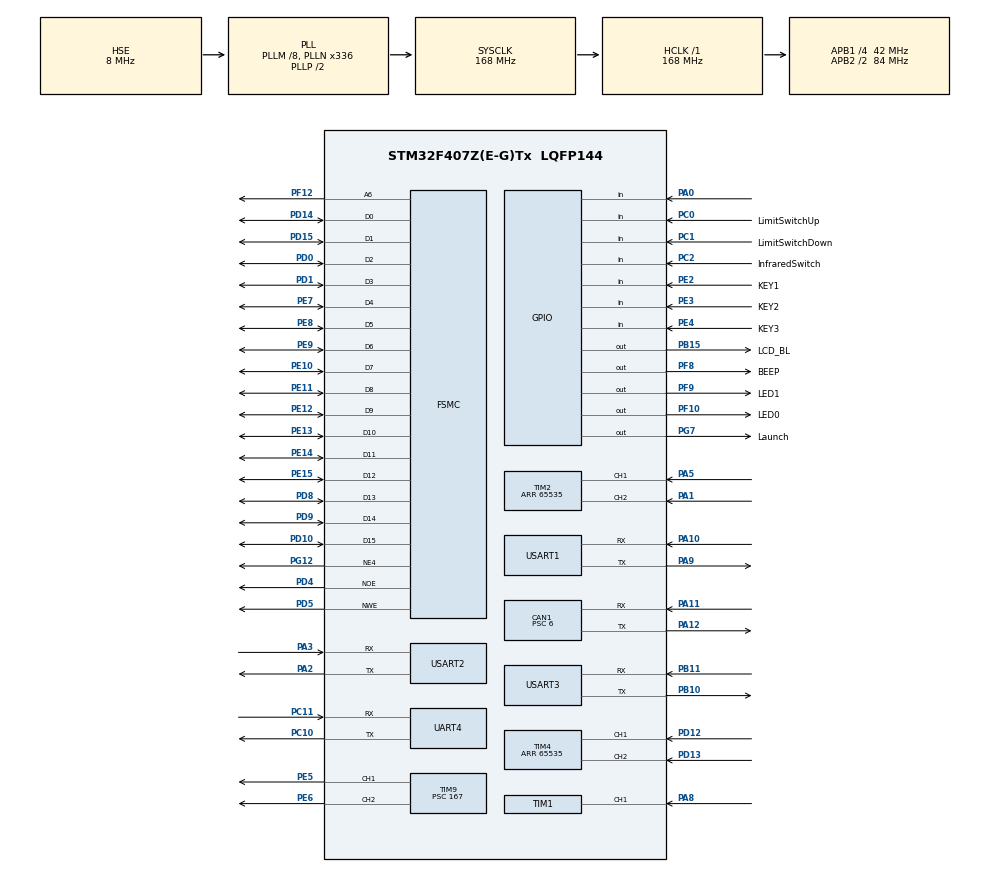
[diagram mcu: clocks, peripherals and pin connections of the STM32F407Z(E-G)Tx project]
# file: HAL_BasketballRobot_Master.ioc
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CAN1.ABOM=ENABLE
CAN1.BS1=CAN_BS1_2TQ
CAN1.BS2=CAN_BS2_4TQ
CAN1.CalculateTimeQuantum=142.85714285714286
CAN1.Prescaler=6
CAN1.TXFP=ENABLE
FSMC.BusTurnAroundDuration1=0
FSMC.DataSetupTime1=60
FSMC.ExtendedAddressSetupTime1=3
FSMC.ExtendedBusTurnAroundDuration1=0
FSMC.ExtendedDataSetupTime1=2
FSMC.ExtendedMode1=FSMC_EXTENDED_MODE_ENABLE
Mcu.Family=STM32F4
Mcu.Name=STM32F407Z(E-G)Tx
Mcu.Package=LQFP144
NVIC.CAN1_RX0_IRQn=true\:1\:0\:true\:false\:true\:true
NVIC.PriorityGroup=NVIC_PRIORITYGROUP_2
NVIC.TIM1_CC_IRQn=true\:0\:3\:false\:false\:true\:true
NVIC.TIM1_UP_TIM10_IRQn=true\:0\:2\:false\:false\:true\:true
NVIC.TIM5_IRQn=true\:1\:0\:true\:false\:true\:true
NVIC.UART4_IRQn=true\:2\:0\:true\:false\:true\:true
NVIC.USART1_IRQn=true\:2\:2\:true\:false\:true\:true
NVIC.USART2_IRQn=true\:2\:1\:true\:false\:true\:true
NVIC.USART3_IRQn=true\:3\:0\:true\:false\:true\:true
PA0-WKUP.GPIO_Mode=GPIO_MODE_INPUT
PA0-WKUP.GPIO_PuPd=GPIO_NOPULL
PA0-WKUP.Signal=GPIO_Input
PA1.GPIO_ModeDefaultPP=GPIO_MODE_AF_PP
PA1.GPIO_PuPd=GPIO_NOPULL
PA1.GPIO_Speed=GPIO_SPEED_FREQ_LOW
PA1.Signal=S_TIM2_CH2
PA10.Mode=Asynchronous
PA10.Signal=USART1_RX
PA11.GPIO_Mode=GPIO_MODE_AF_PP
PA11.GPIO_PuPd=GPIO_NOPULL
PA11.GPIO_Speed=GPIO_SPEED_FREQ_VERY_HIGH
PA11.Mode=Master
PA11.Signal=CAN1_RX
PA12.GPIO_Mode=GPIO_MODE_AF_PP
PA12.GPIO_PuPd=GPIO_NOPULL
PA12.GPIO_Speed=GPIO_SPEED_FREQ_VERY_HIGH
PA12.Mode=Master
PA12.Signal=CAN1_TX
PA13.Mode=JTAG_5_pins
PA13.Signal=SYS_JTMS-SWDIO
PA14.Mode=JTAG_5_pins
PA14.Signal=SYS_JTCK-SWCLK
PA15.Mode=JTAG_5_pins
PA15.Signal=SYS_JTDI
PA2.Mode=Asynchronous
PA2.Signal=USART2_TX
PA3.Mode=Asynchronous
PA3.Signal=USART2_RX
PA5.GPIO_ModeDefaultPP=GPIO_MODE_AF_PP
PA5.GPIO_PuPd=GPIO_NOPULL
PA5.GPIO_Speed=GPIO_SPEED_FREQ_LOW
PA5.Signal=S_TIM2_CH1_ETR
PA8.GPIO_ModeDefaultPP=GPIO_MODE_AF_PP
PA8.GPIO_PuPd=GPIO_NOPULL
PA8.GPIO_Speed=GPIO_SPEED_FREQ_LOW
PA8.Signal=S_TIM1_CH1
PA9.Mode=Asynchronous
PA9.Signal=USART1_TX
PB10.Mode=Asynchronous
PB10.Signal=USART3_TX
PB11.Mode=Asynchronous
PB11.Signal=USART3_RX
PB15.GPIO_Label=LCD_BL
PB15.GPIO_ModeDefaultOutputPP=GPIO_MODE_OUTPUT_PP
PB15.GPIO_PuPd=GPIO_PULLUP
PB15.GPIO_Speed=GPIO_SPEED_FREQ_HIGH
PB15.PinState=GPIO_PIN_RESET
PB15.Signal=GPIO_Output
PB3.Mode=JTAG_5_pins
PB3.Signal=SYS_JTDO-SWO
PB4.Mode=JTAG_5_pins
PB4.Signal=SYS_JTRST
PC0.GPIO_Label=LimitSwitchUp
PC0.GPIO_Mode=GPIO_MODE_INPUT
PC0.GPIO_PuPd=GPIO_PULLUP
PC0.Signal=GPIO_Input
PC1.GPIO_Label=LimitSwitchDown
PC1.GPIO_Mode=GPIO_MODE_INPUT
PC1.GPIO_PuPd=GPIO_PULLUP
PC1.Signal=GPIO_Input
PC10.Mode=Asynchronous
PC10.Signal=UART4_TX
PC11.Mode=Asynchronous
PC11.Signal=UART4_RX
PC2.GPIO_Label=InfraredSwitch
PC2.GPIO_Mode=GPIO_MODE_INPUT
PC2.GPIO_PuPd=GPIO_PULLUP
PC2.Signal=GPIO_Input
PD0.GPIO_Mode=GPIO_MODE_AF_PP
PD0.GPIO_PuPd=GPIO_PULLUP
PD0.GPIO_Speed_High_Default=GPIO_SPEED_FREQ_VERY_HIGH
PD0.Signal=FSMC_D2_DA2
PD1.GPIO_Mode=GPIO_MODE_AF_PP
PD1.GPIO_PuPd=GPIO_PULLUP
PD1.GPIO_Speed_High_Default=GPIO_SPEED_FREQ_VERY_HIGH
PD1.Signal=FSMC_D3_DA3
PD10.GPIO_Mode=GPIO_MODE_AF_PP
PD10.GPIO_PuPd=GPIO_PULLUP
PD10.GPIO_Speed_High_Default=GPIO_SPEED_FREQ_VERY_HIGH
PD10.Signal=FSMC_D15_DA15
PD12.GPIO_ModeDefaultPP=GPIO_MODE_AF_PP
PD12.GPIO_PuPd=GPIO_NOPULL
PD12.GPIO_Speed=GPIO_SPEED_FREQ_LOW
PD12.Signal=S_TIM4_CH1
PD13.GPIO_ModeDefaultPP=GPIO_MODE_AF_PP
PD13.GPIO_PuPd=GPIO_NOPULL
PD13.GPIO_Speed=GPIO_SPEED_FREQ_LOW
PD13.Signal=S_TIM4_CH2
PD14.GPIO_Mode=GPIO_MODE_AF_PP
PD14.GPIO_PuPd=GPIO_PULLUP
PD14.GPIO_Speed_High_Default=GPIO_SPEED_FREQ_VERY_HIGH
PD14.Signal=FSMC_D0_DA0
PD15.GPIO_Mode=GPIO_MODE_AF_PP
PD15.GPIO_PuPd=GPIO_PULLUP
PD15.GPIO_Speed_High_Default=GPIO_SPEED_FREQ_VERY_HIGH
PD15.Signal=FSMC_D1_DA1
PD4.GPIO_Mode=GPIO_MODE_AF_PP
PD4.GPIO_PuPd=GPIO_PULLUP
PD4.GPIO_Speed_High_Default=GPIO_SPEED_FREQ_VERY_HIGH
PD4.Signal=FSMC_NOE
PD5.GPIO_Mode=GPIO_MODE_AF_PP
PD5.GPIO_PuPd=GPIO_PULLUP
PD5.GPIO_Speed_High_Default=GPIO_SPEED_FREQ_VERY_HIGH
PD5.Signal=FSMC_NWE
PD8.GPIO_Mode=GPIO_MODE_AF_PP
PD8.GPIO_PuPd=GPIO_PULLUP
PD8.GPIO_Speed_High_Default=GPIO_SPEED_FREQ_VERY_HIGH
PD8.Signal=FSMC_D13_DA13
PD9.GPIO_Mode=GPIO_MODE_AF_PP
PD9.GPIO_PuPd=GPIO_PULLUP
PD9.GPIO_Speed_High_Default=GPIO_SPEED_FREQ_VERY_HIGH
PD9.Signal=FSMC_D14_DA14
PE10.GPIO_Mode=GPIO_MODE_AF_PP
PE10.GPIO_PuPd=GPIO_PULLUP
PE10.GPIO_Speed_High_Default=GPIO_SPEED_FREQ_VERY_HIGH
PE10.Signal=FSMC_D7_DA7
PE11.GPIO_Mode=GPIO_MODE_AF_PP
PE11.GPIO_PuPd=GPIO_PULLUP
PE11.GPIO_Speed_High_Default=GPIO_SPEED_FREQ_VERY_HIGH
PE11.Signal=FSMC_D8_DA8
PE12.GPIO_Mode=GPIO_MODE_AF_PP
PE12.GPIO_PuPd=GPIO_PULLUP
PE12.GPIO_Speed_High_Default=GPIO_SPEED_FREQ_VERY_HIGH
PE12.Signal=FSMC_D9_DA9
PE13.GPIO_Mode=GPIO_MODE_AF_PP
PE13.GPIO_PuPd=GPIO_PULLUP
PE13.GPIO_Speed_High_Default=GPIO_SPEED_FREQ_VERY_HIGH
PE13.Signal=FSMC_D10_DA10
PE14.GPIO_Mode=GPIO_MODE_AF_PP
PE14.GPIO_PuPd=GPIO_PULLUP
PE14.GPIO_Speed_High_Default=GPIO_SPEED_FREQ_VERY_HIGH
PE14.Signal=FSMC_D11_DA11
PE15.GPIO_Mode=GPIO_MODE_AF_PP
PE15.GPIO_PuPd=GPIO_PULLUP
PE15.GPIO_Speed_High_Default=GPIO_SPEED_FREQ_VERY_HIGH
PE15.Signal=FSMC_D12_DA12
PE2.GPIO_Label=KEY1
PE2.GPIO_Mode=GPIO_MODE_INPUT
PE2.GPIO_PuPd=GPIO_NOPULL
PE2.Signal=GPIO_Input
PE3.GPIO_Label=KEY2
PE3.GPIO_Mode=GPIO_MODE_INPUT
PE3.GPIO_PuPd=GPIO_NOPULL
PE3.Signal=GPIO_Input
PE4.GPIO_Label=KEY3
PE4.GPIO_Mode=GPIO_MODE_INPUT
PE4.GPIO_PuPd=GPIO_NOPULL
PE4.Signal=GPIO_Input
PE5.GPIO_ModeDefaultPP=GPIO_MODE_AF_PP
PE5.GPIO_PuPd=GPIO_PULLUP
PE5.GPIO_Speed=GPIO_SPEED_FREQ_HIGH
PE5.Signal=S_TIM9_CH1
PE6.GPIO_PuPd=GPIO_PULLUP
PE6.GPIO_Speed=GPIO_SPEED_FREQ_HIGH
PE6.Signal=S_TIM9_CH2
PE7.GPIO_Mode=GPIO_MODE_AF_PP
PE7.GPIO_PuPd=GPIO_PULLUP
PE7.GPIO_Speed_High_Default=GPIO_SPEED_FREQ_VERY_HIGH
PE7.Signal=FSMC_D4_DA4
PE8.GPIO_Mode=GPIO_MODE_AF_PP
PE8.GPIO_PuPd=GPIO_PULLUP
PE8.GPIO_Speed_High_Default=GPIO_SPEED_FREQ_VERY_HIGH
PE8.Signal=FSMC_D5_DA5
PE9.GPIO_Mode=GPIO_MODE_AF_PP
PE9.GPIO_PuPd=GPIO_PULLUP
PE9.GPIO_Speed_High_Default=GPIO_SPEED_FREQ_VERY_HIGH
PE9.Signal=FSMC_D6_DA6
PF10.GPIO_Label=LED0
PF10.GPIO_ModeDefaultOutputPP=GPIO_MODE_OUTPUT_PP
PF10.GPIO_PuPd=GPIO_PULLUP
PF10.GPIO_Speed=GPIO_SPEED_FREQ_HIGH
PF10.PinState=GPIO_PIN_RESET
PF10.Signal=GPIO_Output
PF12.GPIO_Mode=GPIO_MODE_AF_PP
PF12.GPIO_PuPd=GPIO_PULLUP
PF12.GPIO_Speed_High_Default=GPIO_SPEED_FREQ_VERY_HIGH
PF12.Signal=FSMC_A6
PF8.GPIO_Label=BEEP
PF8.GPIO_ModeDefaultOutputPP=GPIO_MODE_OUTPUT_PP
PF8.GPIO_PuPd=GPIO_PULLUP
PF8.GPIO_Speed=GPIO_SPEED_FREQ_HIGH
PF8.PinState=GPIO_PIN_RESET
PF8.Signal=GPIO_Output
PF9.GPIO_Label=LED1
PF9.GPIO_ModeDefaultOutputPP=GPIO_MODE_OUTPUT_PP
PF9.GPIO_PuPd=GPIO_PULLUP
PF9.GPIO_Speed=GPIO_SPEED_FREQ_HIGH
PF9.PinState=GPIO_PIN_RESET
PF9.Signal=GPIO_Output
PG12.GPIO_Mode=GPIO_MODE_AF_PP
PG12.GPIO_PuPd=GPIO_PULLUP
PG12.GPIO_Speed_High_Default=GPIO_SPEED_FREQ_VERY_HIGH
PG12.Mode=NorPsramChipSelect4_1
PG12.Signal=FSMC_NE4
PG7.GPIO_Label=Launch
PG7.GPIO_ModeDefaultOutputPP=GPIO_MODE_OUTPUT_PP
PG7.GPIO_PuPd=GPIO_PULLUP
PG7.GPIO_Speed=GPIO_SPEED_FREQ_HIGH
PG7.PinState=GPIO_PIN_RESET
PG7.Signal=GPIO_Output
PH0-OSC_IN.Mode=HSE-External-Oscillator
PH0-OSC_IN.Signal=RCC_OSC_IN
PH1-OSC_OUT.Mode=HSE-External-Oscillator
PH1-OSC_OUT.Signal=RCC_OSC_OUT
ProjectManager.HeapSize=0x200
ProjectManager.StackSize=0x400
ProjectManager.TargetToolchain=MDK-ARM V5
RCC.48MHZClocksFreq_Value=84000000
RCC.AHBFreq_Value=168000000
RCC.APB1CLKDivider=RCC_HCLK_DIV4
RCC.APB1Freq_Value=42000000
RCC.APB1TimFreq_Value=84000000
RCC.APB2CLKDivider=RCC_HCLK_DIV2
RCC.APB2Freq_Value=84000000
RCC.APB2TimFreq_Value=168000000
RCC.CortexFreq_Value=168000000
RCC.HCLKFreq_Value=168000000
RCC.HSE_VALUE=8000000
RCC.HSI_VALUE=16000000
RCC.LSE_VALUE=32768
RCC.PLLM=8
RCC.PLLN=336
RCC.PLLSourceVirtual=RCC_PLLSOURCE_HSE
RCC.SYSCLKFreq_VALUE=168000000
RCC.SYSCLKSource=RCC_SYSCLKSOURCE_PLLCLK
RCC.VCOOutputFreq_Value=336000000
SH.FSMC_A6.0=FSMC_A6,A6_1
SH.FSMC_D0_DA0.0=FSMC_D0,16b-d1
SH.FSMC_D10_DA10.0=FSMC_D10,16b-d1
SH.FSMC_D11_DA11.0=FSMC_D11,16b-d1
SH.FSMC_D12_DA12.0=FSMC_D12,16b-d1
SH.FSMC_D13_DA13.0=FSMC_D13,16b-d1
SH.FSMC_D14_DA14.0=FSMC_D14,16b-d1
SH.FSMC_D15_DA15.0=FSMC_D15,16b-d1
SH.FSMC_D1_DA1.0=FSMC_D1,16b-d1
SH.FSMC_D2_DA2.0=FSMC_D2,16b-d1
SH.FSMC_D3_DA3.0=FSMC_D3,16b-d1
SH.FSMC_D4_DA4.0=FSMC_D4,16b-d1
SH.FSMC_D5_DA5.0=FSMC_D5,16b-d1
SH.FSMC_D6_DA6.0=FSMC_D6,16b-d1
SH.FSMC_D7_DA7.0=FSMC_D7,16b-d1
SH.FSMC_D8_DA8.0=FSMC_D8,16b-d1
SH.FSMC_D9_DA9.0=FSMC_D9,16b-d1
SH.FSMC_NOE.0=FSMC_NOE,Lcd1
SH.FSMC_NWE.0=FSMC_NWE,Lcd1
SH.S_TIM1_CH1.0=TIM1_CH1,Input_Capture1_from_TI1
SH.S_TIM2_CH1_ETR.0=TIM2_CH1,Encoder_Interface
SH.S_TIM2_CH2.0=TIM2_CH2,Encoder_Interface
SH.S_TIM4_CH1.0=TIM4_CH1,Encoder_Interface
SH.S_TIM4_CH2.0=TIM4_CH2,Encoder_Interface
SH.S_TIM9_CH1.0=TIM9_CH1,PWM Generation1 CH1
SH.S_TIM9_CH2.0=TIM9_CH2,PWM Generation2 CH2
TIM1.Channel-Input_Capture1_from_TI1=TIM_CHANNEL_1
TIM1.ICFilter_CH1=3
TIM1.Period=9999
TIM1.Prescaler=167
TIM2.EncoderMode=TIM_ENCODERMODE_TI12
TIM2.IC1Filter=5
TIM2.IC2Filter=5
TIM2.Period=65535
TIM4.EncoderMode=TIM_ENCODERMODE_TI12
TIM4.IC1Filter=5
TIM4.IC2Filter=5
TIM4.Period=65535
TIM5.Period=999
TIM5.Prescaler=83
TIM9.Channel-PWM\ Generation1\ CH1=TIM_CHANNEL_1
TIM9.Channel-PWM\ Generation2\ CH2=TIM_CHANNEL_2
TIM9.Period=999
TIM9.Prescaler=167
UART4.VirtualMode=Asynchronous
USART1.VirtualMode=VM_ASYNC
USART2.VirtualMode=VM_ASYNC
USART3.VirtualMode=VM_ASYNC
VP_TIM1_VS_ClockSourceINT.Mode=Internal
VP_TIM5_VS_ClockSourceINT.Mode=Internal
VP_TIM9_VS_ClockSourceINT.Mode=Internal
board=custom

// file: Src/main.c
/* USER CODE BEGIN Header */
/**
  ******************************************************************************
  * @file           : main.c
  * @brief          : Main program body
  ******************************************************************************
  ** This notice applies to any and all portions of this file
  * that are not between comment pairs USER CODE BEGIN and
  * USER CODE END. Other portions of this file, whether
  * inserted by the user or by software development tools
  * are owned by their respective copyright owners.
  *
  * COPYRIGHT(c) 2018 STMicroelectronics
  *
  * Redistribution and use in source and binary forms, with or without modification,
  * are permitted provided that the following conditions are met:
  *   1. Redistributions of source code must retain the above copyright notice,
  *      this list of conditions and the following disclaimer.
  *   2. Redistributions in binary form must reproduce the above copyright notice,
  *      this list of conditions and the following disclaimer in the documentation
  *      and/or other materials provided with the distribution.
  *   3. Neither the name of STMicroelectronics nor the names of its contributors
  *      may be used to endorse or promote products derived from this software
  *      without specific prior written permission.
  *
  * THIS SOFTWARE IS PROVIDED BY THE COPYRIGHT HOLDERS AND CONTRIBUTORS "AS IS"
  * AND ANY EXPRESS OR IMPLIED WARRANTIES, INCLUDING, BUT NOT LIMITED TO, THE
  * IMPLIED WARRANTIES OF MERCHANTABILITY AND FITNESS FOR A PARTICULAR PURPOSE ARE
  * DISCLAIMED. IN NO EVENT SHALL THE COPYRIGHT HOLDER OR CONTRIBUTORS BE LIABLE
  * FOR ANY DIRECT, INDIRECT, INCIDENTAL, SPECIAL, EXEMPLARY, OR CONSEQUENTIAL
  * DAMAGES (INCLUDING, BUT NOT LIMITED TO, PROCUREMENT OF SUBSTITUTE GOODS OR
  * SERVICES; LOSS OF USE, DATA, OR PROFITS; OR BUSINESS INTERRUPTION) HOWEVER
  * CAUSED AND ON ANY THEORY OF LIABILITY, WHETHER IN CONTRACT, STRICT LIABILITY,
  * OR TORT (INCLUDING NEGLIGENCE OR OTHERWISE) ARISING IN ANY WAY OUT OF THE USE
  * OF THIS SOFTWARE, EVEN IF ADVISED OF THE POSSIBILITY OF SUCH DAMAGE.
  *
  ******************************************************************************
  */
/* USER CODE END Header */

#include "main.h"
#include "can.h"
#include "tim.h"
#include "usart.h"
#include "gpio.h"
#include "fsmc.h"

/* USER CODE BEGIN Includes */
#include "control.h"
#include "math.h"
#include "mpu6050.h"
#include "lcd.h"
#include "delay.h"
#include "remote.h"
#include "get_info.h"
#include "find_ball.h"

/* USER CODE END Includes */

void SystemClock_Config(void);

/* USER CODE BEGIN 0 */
u8 zhongquan_case;
u8 sanfen_case;
u8 changdi=0;  	//场地
u8 chengxu=0;	 //回合程序
u8 qiu=0;         //找球
static u8 key;
/* USER CODE END 0 */

int main(void)
{
  /* USER CODE BEGIN 1 */
	//u8 i;
	//int16_t time = 0;			//延时
	//u8 findballtime = 0; 		//找球时调整角度次数
  /* USER CODE END 1 */

  /* MCU Configuration--------------------------------------------------------*/

  /* Reset of all peripherals, Initializes the Flash interface and the Systick. */
  HAL_Init();

  /* Configure the system clock */
  SystemClock_Config();

  /* USER CODE BEGIN SysInit */
  delay_init(168);
  /* USER CODE END SysInit */

  /* Initialize all configured peripherals */
  MX_GPIO_Init();
  MX_CAN1_Init();
  MX_FSMC_Init();
  MX_USART1_UART_Init();
  MX_USART2_UART_Init();
  MX_USART3_UART_Init();
  MX_TIM1_Init();
  MX_TIM4_Init();
  MX_TIM9_Init();
  MX_TIM5_Init();
  MX_TIM2_Init();
  MX_UART4_Init();
  /* USER CODE BEGIN 2 */
  HAL_SRAM_MspInit(&hsram1);
  Control_Init();
  CAN1_Init();
  AllPID_Init();
  LCD_Init();
  LCD_Show_Title();

  //FindBall_VandR_sanfenxian(6);
//FindBasketry();

//FindBall_VandR(6);
//	RobotGoTo(0.5,0.4,18);
//	while(1);

//  RobotGoTo(0,0,18);
//	FindBall_VandR(5);

  //选择上位机PID调参对象
  //rxPID.pidAdjust = &(Motor[3].AnglePID);

  /* USER CODE END 2 */

  /* Infinite loop */
	while (1)
	{
    /* USER CODE BEGIN 3 */

//	    Robot_ArmUp();

		Remote_Control();  //遥控器选择球、回合程序、场地

		switch (chengxu)
		{
			case 0:  //测试程序
				switch (qiu)
				{
					case 0:  //自旋

//                        SHOT = 1;
//                       delay_ms(1000);
//                       SHOT = 0;
                        //FindBall_vision(6);
                        RobotRotate(180);
                        //RobotGoTo(0,1, 0);//self
                        //FindBall_VandR(6);
						break;
					case 1:  //机械臂下降
						Robot_ArmDown();
//                        while(1)
//						{
//							if(LimitSwitchUp) //下限位触发为高电平
//								BEEP = 1;
//							else
//								BEEP = 0;
//						}
						break;
					case 2:  //机械臂上升
                        Robot_ArmUp();
//                        while(1)
//						{
//							if(LimitSwitchDown) //下限位触发为高电平
//								BEEP = 1;
//							else
//								BEEP = 0;
//						}
						break;
					case 3:  //红外
						while(1)
						{
							if(INFRARED) //遮住红外为高电平
								BEEP = 1;
							else
								BEEP = 0;
						}
						break;
					case 4:
						//弹射测试
                        while(1)
                            SHOT = 1;
//						while (1)
//						{
//							key = Remote_Scan();
//							switch (key)
//							{
//								case KEY_1:
//									delay_ms(1000);
//									SHOT = 1;
//									break;

//								case KEY_2:
//									delay_ms(1000);
//									SHOT = 0;
//									break;

//								case KEY_3:
//									delay_ms(1000);
//									SHOT = 1;
//									delay_ms(1000);
//									SHOT = 0;
//									break;
//							}
//						}
						break;

					case 5://演示程序
                        RobotGoTo(0, 1.68f, 0);//找球点_测试
//                        FindBall_VandR_sanfenxian_VisionFirst(6);

                        RobotGoTo(0.395, 4.678f, 20.258f);//投球点

//                        FindBasketry();

                        while (Up_ShotBall());

//                        RobotRotate(120);
//
//                        FindBall_VandR_sanfenxian_VisionFirst(6);

//                        RobotGoTo(0.386f, 4.753f, 20.63f);//投球点

//                        FindBasketry();

//                        while (Up_ShotBall());
//
//                        //退后置停
//                        Set_MotorSpeed(0, 0, 0, 0);
                        RobotGoTo(0,0,0);
                        break;

					case 6:
						//视觉雷达结合找球测试
						FindBall_VandR(changdi);
						RobotGoTo(BasketballRobot.X,BasketballRobot.Y-0.5f,BasketballRobot.ThetaD);
						LED0 = !LED0;
						break;
					case 7:
						//定点找篮
						//RobotGoTo(-5.06f-3.425f, 3.05f, 70.8f);
						FindBasketry();
					    while(Up_ShotBall());
						BEEP = 1;
						delay_ms(500);
						BEEP = 0;
						break;
					case 8:
						//避障直行
						FindBall_VandR(5);
                        //FindBall_vision(6);
						//RobotGoAvoidance();
						break;

					case 9:
						FindBall_VandR_sanfenxian_VisionFirst(6);
						break;
					}
					break;

			case 1:			//传球第一回合
				switch (changdi)
				{
					case 1: //下半场
						RobotGoTo(0, 2.4, 0);

						//RobotGoTo(1.668, 2.4f, -120);//投球点
                        RobotGoTo(0.92, 2.271f, -115);//Self_Edit 传球点

						while (Up_ShotBall());

                        //RobotGoTo(1.349, 2.358f, 0);//Self_Edit

						RobotRotate(0);//Self_Edit转向找球

						//FindBall_VandR_middle(5);
                        FindBall_VandR(5);

						//RobotGoTo(1.668, 2.4f, -120);//投球点
                        RobotGoTo(0.92, 2.271f, -115);//Self_Edit 传球点

						while (Up_ShotBall());//气压调定为0.3MPa

						RobotGoTo(-0.1, 1 , 0);//回位

						RobotGoTo(-0.1,-0.1,0);

						break;

					case 0: //上半场/////////////////////////////////////////////////////////////////////
						RobotGoTo(0, 2.4, 0);

						//RobotGoTo(-1.668f, 2.4f, 120);//投球点
                        RobotGoTo(-0.92f, 2.271f, 121.267);//Self_Edit传球点

						while (Up_ShotBall());//气压调定为0.3MPa

						RobotRotate(0);//转向找球

						//FindBall_VandR_middle(5);
                        FindBall_VandR(5);

						//RobotGoTo(-1.668, 2.4f, 120);//投球点
                        RobotGoTo(-0.92f, 2.271f, 121.267);//Self_Edit传球点

						while (Up_ShotBall());

						RobotGoTo(0.2, 1 , 0);//Self回位

						RobotGoTo(0.2, -0.1, 0);//Self回位

						break;
				}
				break;

			case 2: //传球第二回合
				switch (changdi)
				{
					case 1: //下半场
						RobotGoTo(0, 2.3, 0);//直接找球

						//RobotGoTo(1.668, 2.4f, -30);//找球点
                        RobotGoTo(0.92, 2.401f, 0);//Self_Edit_找球点

                        FindBall_VandR(5);
						//FindBall_VandR_middle(5);

						//RobotGoTo(1.668, 2.4f, -120);//投球点
                        //RobotGoTo(0.92f, 2.571f, -115);//Self_Edit传球点
                        RobotGoTo(0.92f, 2.271f, -115);//Self_Edit传球点

						while (Up_ShotBall());

						//RobotGoTo(4.3f, 2.5f , -120);//三分线找球点
                        RobotGoTo(4.37f, 1.756f , -90);//Self_Edit_三分线找球点_测试

						//FindBall_VandR(5);
                        FindBall_VandR(5);//Self_Edit

						//RobotGoTo(1.668, 2.4f, -120);//定点投球
                        RobotGoTo(1.558, 2.4f, -120);//Self_Edit传球点

						while(Up_ShotBall());

						RobotGoTo(-0.1, 1 , 0);//回位

						RobotGoTo(-0.1,-0.1,0);

						break;

					case 0: //上半场/////////////////////////////////////////////////////////////////////
						//传球第二回合
						RobotGoTo(0, 2.6, 0);//直接找球

						//RobotGoTo(-0.92f, 2.271f, 0);//Self_Edit

						//FindBall_VandR_middle(5);
                        FindBall_VandR(5);

						RobotGoTo(-0.92f, 2.271f, 121.267);//Self_Edit传球点

						while (Up_ShotBall());

						RobotGoTo(-4.66f, 1.804f, 90);//三分线找球点

                        //FindBall_vision(5);
						FindBall_VandR(5);//Self_Edit

						RobotGoTo(-1.568, 2.4f, 125);//Self_Edit传球点

						while(Up_ShotBall());

						RobotGoTo(0.2 , 1 , 0);//Self回位

						RobotGoTo(0.2, -0.1 , 0);//Self回位

						break;
				}
				break;

			case 3: //传球第三回合
				switch (changdi)
				{
					case 1: //下半场
						//可延时十秒
						RobotGoTo(0, 2.5, 0);

						//找球
						//RobotGoTo(4.3f, 2.5f, -100);//三分线找球点
                        RobotGoTo(4.37f, 1.756f , -90);//Self_Edit_三分线找球点_测试
						FindBall_VandR_sanfenxian(5);//_Self_Edit

						//记录铲球点A的位置
						BasketballRobot.PX = BasketballRobot.X;
						BasketballRobot.PY = BasketballRobot.Y;

						//投球
						RobotGoTo(1.558, 2.4f, -120);//投球点
						while (Up_ShotBall());

						//内三分找球点
						//if(BasketballRobot.PX>7.2f)//如果找到三分线内球
                        if(BasketballRobot.PX>6.3f)//如果前一次找到三分线内球_Self_Edit
						{
							//RobotGoTo(4.3f, 2.5f, -120);//三分线找球点
                            RobotGoTo(4.23f, 2.704f , -90);//Self_Edit_三分线找球点_测试
						}
                        if(BasketballRobot.PX<6.3f)//如果前一次找到三分线外的球_Self_Edit
						{
							//RobotGoTo(4.3f, 2.5f, -120);//三分线找球点
                            RobotGoTo(BasketballRobot.PX, BasketballRobot.PY , -110);//Self_Edit_三分线找球点_测试
						}
//						else if(BasketballRobot.PY<2.5f)
//						{
//							RobotGoTo(BasketballRobot.PX+0.3f,BasketballRobot.PY,-60);
//						}
//						else
//						{
//							RobotGoTo(BasketballRobot.PX+0.3f,BasketballRobot.PY,-90);
//						}

						FindBall_VandR(5);//Self_Edit
						//FindBall_VandR(5);//_Self_Edit

						//if(BasketballRobot.PX<7.2f)//如果第一个球正常，在三分线上找到
                        if(BasketballRobot.PX<6.3f)//如果第一个球正常_Self_Edit
							RobotGoTo(BasketballRobot.PX+0.2f,BasketballRobot.PY,-120);

						//投球点
						RobotGoTo(1.558, 2.4f, -120);//Self_Edit 投球点

						while (Up_ShotBall());

						//回位
						RobotGoTo(-0.1, 1 , 0);//回位

						RobotGoTo(-0.1,-0.1,0);

						break;

					case 0: //上半场/////////////////////////////////////////////////////////////////////
						//可延时十秒
						RobotGoTo(0, 2.5, 0);

						//找球
						RobotGoTo(-4.66f, 1.804f, 90);//三分线找球点
						FindBall_VandR_sanfenxian(5);

						//记录铲球点A的位置
						BasketballRobot.PX = BasketballRobot.X;
						BasketballRobot.PY = BasketballRobot.Y;

						//投球
						//RobotGoTo(-4.97,BasketballRobot.PY,-155);//折线到投球点，防止撞球
						//RobotGoTo(-4.97, 3.106f,-155);	//投球点
						RobotGoTo(-1.508, 2.4f, 125);//投球点

						while (Up_ShotBall());

						//内三分找球点
						if(BasketballRobot.PX<-6.3f)//如果找到三分线上的球
						{
							RobotGoTo(-4.2f, 2.5f, 100);//三分线找球点
						}
                        if(BasketballRobot.PX>-6.3f)//如果前一次找到三分线内的球_Self_Edit
						{
							//RobotGoTo(4.3f, 2.5f, -120);//三分线找球点
                            RobotGoTo(BasketballRobot.PX-0.3f, BasketballRobot.PY , 120);//Self_Edit_三分线找球点_测试
						}
//						else if(BasketballRobot.PY<2.5f)
//						{
//							RobotGoTo(BasketballRobot.PX - 0.3f,BasketballRobot.PY,60);
//						}
//						else
//						{
//							RobotGoTo(BasketballRobot.PX-0.3f,BasketballRobot.PY,90);
//						}
						FindBall_VandR(5);//Self_Edit
						//FindBall_VandR(5);

//						if(BasketballRobot.PX>-5.3f)//如果第一个球正常，在三分线上找到
//							RobotGoTo(BasketballRobot.PX-0.3f,BasketballRobot.PY,120);

						//投球点
						RobotGoTo(-1.568, 2.4f, 125);//Self_Edit投球点

						while (Up_ShotBall());

						//回位
        				RobotGoTo(0.2f, 1, 0);//Self回位
	 					RobotGoTo(0.2f, -0.1, 0);//Self回位
						break;
				}
				break;

			case 4: //投篮第一回合
				switch (changdi)
				{
					case 1: //下半场
						//入场
						RobotGoTo(0, 2.875, 0);

						//RobotGoTo(8.749f, 2.875f, -71.510f);
                        RobotGoTo(8.549f, 2.875f, -71.510f);//Self_Edit投球点

						//雷达找框
						FindBasketry();

						while (Up_ShotBall());

						//RobotGoTo(1.7f,2.4f,-30);//中线找球点
                        RobotGoTo(-0.4, 2.3f, 0);//Self_Edit_找球点 XY-0.4， 2.3
                        FindBall_VandR(6);
						//FindBall_VandR_middle(6);//中线找双排球

						//RobotGoTo(8.501f, 2.984f, -68.440f);//投球点 BASKETRY_MID：  260    2540
                        RobotGoTo(8.549f, 2.875f, -71.510f);//Self_Edit投球点

						FindBasketry();

						while (Up_ShotBall());

						Set_MotorSpeed(0,0,0,0);

						delay_ms(10000);

//						RobotGoTo(0.25 , 1 , 0);//回位
//						RobotGoTo(0.25, -0.17 , 0);*/

						break;

					case 0: //上半场/////////////////////////////////////////////////////////////////////
						//投篮第一回合
						RobotGoTo(0, 2.984, 0);

						//RobotGoTo(-8.749f, 2.875f, 71.510f);///////////////////////////////
                        RobotGoTo(-8.165f, 2.887f, 67.423f);//Self_Edit 气压：0.3
						//雷达找框
						FindBasketry();

						while (Up_ShotBall());

						Robot_ArmUp();

						RobotGoTo(-0.92f,2.71f,0);//Self_Edit中线找球点

                        FindBall_VandR(6);
						//FindBall_VandR_middle(6);//中线找双排球

						RobotGoTo(-8.165f, 2.887f, 67.423f);//Self_Edit 气压：0.3///////////

						FindBasketry();

						while (Up_ShotBall());

						Set_MotorSpeed(0,0,0,0);

//						RobotGoTo(0.25 , 1 , 0);//回位
//						RobotGoTo(0.25, -0.17 , 0);*/

						break;
				}
				break;

			case 5: //投篮第二回合
				switch (changdi)
				{
					case 1: //下半场

						//可延时十秒
						RobotGoTo(0, 2.5, 0);

						//RobotGoTo(4.3f, 2.5f, -90);//-3.425f
                        RobotGoTo(4.37f, 1.765f , -90);//Self_Edit_三分线找球点
                        //FindBall_VandR_VisionFirst(6);//Self_Edit
						FindBall_VandR(6);

						//记录铲球点A的位置
						BasketballRobot.PX = BasketballRobot.X;
						BasketballRobot.PY = BasketballRobot.Y;

						//投球点
						//RobotGoTo(-8.749f, 2.875f, 71.510f);///////////////////////////////
                        RobotGoTo(8.549f, 2.875f, -71.510f);//Self_Edit投球点

						//雷达找框
						FindBasketry();
		//				RobotRotate(-70.8f);
		//				FindBasketry();

						while (Up_ShotBall());

						//先到铲球点防止撞球
						RobotGoTo(BasketballRobot.PX , BasketballRobot.PY , 260);

						//再到中线找球点
						//RobotGoTo(1.7f, 2.4f, -30);
                        RobotGoTo(-0.4, 2.3f, 0);//Self_Edit中线找球点 XY0.92f, 2.56f
                        FindBall_VandR(6);//Self_Edit
						//FindBall_VandR_middle(6);

						//投球点
						RobotGoTo(BasketballRobot.PX, BasketballRobot.PY, -30);
						//RobotGoTo(-8.749f, 2.875f, 71.510f);///////////////////////////////
                        RobotGoTo(8.549f, 2.875f, -71.510f);//Self_Edit投球点

						FindBasketry();

						while (Up_ShotBall());

						//置停
						Set_MotorSpeed(0, 0, 0, 0);

		//				RobotGoTo(0.25 , 1 , 0);//回位
		//				RobotGoTo(0.25, -0.17 , 0);

						break;

					case 0: //上半场/////////////////////////////////////////////////////////////////////
						RobotGoTo(0, 2.5, 0);

						//三分线找球点Exc
						RobotGoTo(-4.66f, 1.804f, 90);

						//RobotGoTo(4.3f, 2.5f, 290);
                        //FindBall_VandR_VisionFirst(6);//Self_Edit
						FindBall_VandR(6);

						//记录铲球点A的位置
						BasketballRobot.PX = BasketballRobot.X;
						BasketballRobot.PY = BasketballRobot.Y;

						//投球点
						RobotGoTo(-8.165f, 2.887f, 67.423f);//Self_Edit 气压：0.3///////////////////////////////

						//雷达找框
						FindBasketry();

						while (Up_ShotBall());

						//先到铲球点防止撞球
						RobotGoTo(BasketballRobot.PX , BasketballRobot.PY , -260);

						//再到中线找球点
						RobotGoTo(-0.92f, 2.271f, 0);//中线找球点
                        FindBall_VandR(6);//Self_Edit
						//FindBall_VandR_middle(6);

						//投球点
						RobotGoTo(BasketballRobot.PX, BasketballRobot.PY, 30);
						RobotGoTo(-8.165f, 2.887f, 67.423f);//Self_Edit 气压：0.3///////////////////////////

						FindBasketry();

						while (Up_ShotBall());

						//置停
						Set_MotorSpeed(0, 0, 0, 0);

//						RobotGoTo(0.25 , 1 , 0);//回位
//						RobotGoTo(0.25, -0.17 , 0);

						break;
				}
				break;

			case 6: //投篮第三回合
				switch (changdi)
				{
					case 1: //下半场

						//可延时十秒
						RobotGoTo(0, 2.5, 0);

						//三分线找球点
						//RobotGoTo(4.3f, 2.5f, 290);
						//RobotGoTo(4.3f, 2.5f, -90);
                        RobotGoTo(4.37f, 2.8f , -90);//Self_Edit_三分线找球点_测试
						FindBall_VandR_sanfenxian(6);

                        //记录铲球点的位置_Self_Edit
                        BasketballRobot.PX = BasketballRobot.X;
						BasketballRobot.PY = BasketballRobot.Y;

                        if(BasketballRobot.PX<6.3)//如果先找到第一排的球_Self_Edit
                        {//使车朝正右避障直行
                            RobotRotate(-90);
                            RobotGoAvoidance();
                        }

						//投球点
						//RobotGoTo(8.501f, 2.984f, -68.440f);//投球点 BASKETRY_MID：  260    2540
                        RobotGoTo(8.549f, 2.875f, -71.510f);//Self_Edit投球点

						FindBasketry();
//						RobotRotate(-70.8f);
//						FindBasketry();

						while (Up_ShotBall());

						//内三分找球点
						//if(BasketballRobot.Y>7.2)//如果先找到第二排的球
                        if(BasketballRobot.PX>6.3)//如果先找到第二排的球_Self_Edit
						{
							RobotGoTo(BasketballRobot.PX, BasketballRobot.PY , 150);
						}
						else
						{
							//RobotRotate(-90);   //逆时针转向90°
							RobotRotate(120);   //_Self_Edit
						}

						//FindBall_radar();
                        //FindBall_VandR_VisionFirst(6);//Self_Edit
						FindBall_VandR(6);

						//投球点
						//RobotGoTo(8.501f, 2.984f, -68.440f);//投球点 BASKETRY_MID：  260    2540
                        RobotGoTo(8.549f, 2.875f, -71.510f);//Self_Edit投球点

						FindBasketry();
						//RobotRotate(-70.8f);
						//FindBasketry();

						while (Up_ShotBall());

						//退后置停
						Set_MotorSpeed(0, 0, 0, 0);

						break;

					case 0: //上半场/////////////////////////////////////////////////////////////////////
						//可延时十秒
						RobotGoTo(0, 2.5, 0);

						//三分线找球点
					    RobotGoTo(-3.85f, 2.75f, 90);
						FindBall_VandR_sanfenxian(6);

                        BasketballRobot.PX = BasketballRobot.X;
						BasketballRobot.PY = BasketballRobot.Y;

						//使车朝正右避障直行
						RobotRotate(90);
						RobotGoAvoidance();

						//投球点
						RobotGoTo(-8.165f, 2.887f, 67.423f);//Self_Edit 气压：0.3/////////////////////

						FindBasketry();

						while (Up_ShotBall());

                        if(BasketballRobot.PX<-6.3)//如果先找到第二排的球_Self_Edit
						{
							RobotGoTo(BasketballRobot.PX, BasketballRobot.PY , 90);
						}
						else
						{
							//RobotRotate(-90);   //逆时针转向90°
							RobotRotate(-120);   //_Self_Edit
						}

//						//内三分找球点
//						if(BasketballRobot.Y>7.2)//如果先找到第二排的球
//							RobotGoTo(BasketballRobot.PX, BasketballRobot.PY ,-90);
//						else
//							RobotGoTo(BasketballRobot.X-1, 3.0,-100);

						//FindBall_radar();
                        //FindBall_VandR_VisionFirst(6);//Self_Edit
						FindBall_VandR(6);

						//投球点
						RobotGoTo(-8.165f, 2.887f, 67.423f);//Self_Edit 气压：0.3//////////////////

						FindBasketry();

						while (Up_ShotBall());

						//退后置停
						Set_MotorSpeed(0, 0, 0, 0);

                            ;
				}
				break;
		}
		break;

	}

	while(1)//停在原地静止不动
		Set_MotorSpeed(0,0,0,0);
  /* USER CODE END 3 */
}

void SystemClock_Config(void)
{
  RCC_OscInitTypeDef RCC_OscInitStruct = {0};
  RCC_ClkInitTypeDef RCC_ClkInitStruct = {0};

  /**Configure the main internal regulator output voltage
  */
  __HAL_RCC_PWR_CLK_ENABLE();
  __HAL_PWR_VOLTAGESCALING_CONFIG(PWR_REGULATOR_VOLTAGE_SCALE1);
  /**Initializes the CPU, AHB and APB busses clocks
  */
  RCC_OscInitStruct.OscillatorType = RCC_OSCILLATORTYPE_HSE;
  RCC_OscInitStruct.HSEState = RCC_HSE_ON;
  RCC_OscInitStruct.PLL.PLLState = RCC_PLL_ON;
  RCC_OscInitStruct.PLL.PLLSource = RCC_PLLSOURCE_HSE;
  RCC_OscInitStruct.PLL.PLLM = 8;
  RCC_OscInitStruct.PLL.PLLN = 336;
  RCC_OscInitStruct.PLL.PLLP = RCC_PLLP_DIV2;
  RCC_OscInitStruct.PLL.PLLQ = 4;
  if (HAL_RCC_OscConfig(&RCC_OscInitStruct) != HAL_OK)
  {
    Error_Handler();
  }
  /**Initializes the CPU, AHB and APB busses clocks
  */
  RCC_ClkInitStruct.ClockType = RCC_CLOCKTYPE_HCLK|RCC_CLOCKTYPE_SYSCLK
                              |RCC_CLOCKTYPE_PCLK1|RCC_CLOCKTYPE_PCLK2;
  RCC_ClkInitStruct.SYSCLKSource = RCC_SYSCLKSOURCE_PLLCLK;
  RCC_ClkInitStruct.AHBCLKDivider = RCC_SYSCLK_DIV1;
  RCC_ClkInitStruct.APB1CLKDivider = RCC_HCLK_DIV4;
  RCC_ClkInitStruct.APB2CLKDivider = RCC_HCLK_DIV2;

  if (HAL_RCC_ClockConfig(&RCC_ClkInitStruct, FLASH_LATENCY_5) != HAL_OK)
  {
    Error_Handler();
  }
}

void Error_Handler(void)
{
}

/************************ (C) COPYRIGHT STMicroelectronics *****END OF FILE****/
